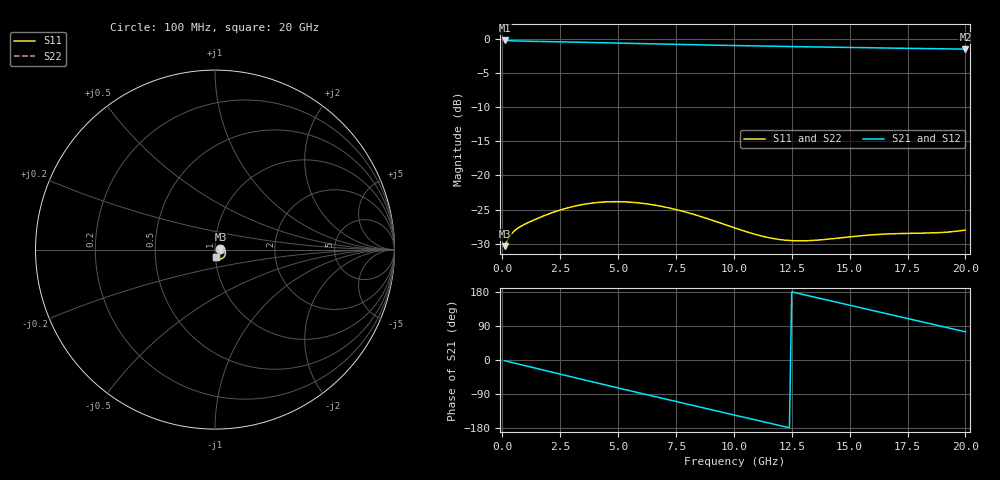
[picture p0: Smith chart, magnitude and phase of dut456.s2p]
! Touchstone file exported from HFSS 2026.1.0
!  File:  C:/ffzhzh/LocalFiles/Ansys_Project_Files/temp_train_TSV_RDL_456_1783100802_50312.aedt
!  Generated:  01:56:31 AM Jul  4, 2026
!  Design:  TSV_RDL
!  Project:  temp_train_TSV_RDL_456_1783100802_50312
! Variables:
!  h_bsmrdl = 3.14um
!  h_ox = 20um
!  h_rdl = 5um
!  h_sub = 72.7um
!  h_tmrdl = 5.38um
!  h_tsv = 72.7um
!  h_via = 3um
!  l_bsmrdl = 189.39um
!  l_sub = 4952um
!  l_tmrdl = 973.45um
!  m_sub = 200um
!  pitch = 18.57um
!  r_tsv = 2.63um
!  s_tmrdl = 10um
!  w_bsmrdl = 15.37um
!  w_sub = 500um
!  w_tmrdl = 14.64um
!  x_tsv_center1 = 980.77um
!  x_tsv_center2 = 1185.53um
!  x_tsv_center3 = 2173.62um
!  x_tsv_center4 = 2378.38um
!  x_tsv_center5 = 3366.47um
!  x_tsv_center6 = 3571.23um
# GHz S MA R 50.000000
! Terminal data exported
! Port[1] = TM_RDL1_1_T1
! Port[2] = TM_RDL5_1_T1
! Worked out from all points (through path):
!   200 points, 100 MHz to 20 GHz, reference 50 ohm
!   highest |S21| = -0.27 dB at 100 MHz (marker M1); lowest = -1.5 dB at 20 GHz (marker M2)
!   group delay of S21, straight-line fit = 39.5 ps
!   lowest |S11| = -30.3 dB at 100 MHz (marker M3), VSWR 1.06, Z = 53.1 + j0.395 ohm
!   |S11| at or under -10 dB: start of sweep to end of sweep
!   |S22| runs from -30.3 to -23.8 dB; largest |S21 - S12| = 6e-14
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0.1  0.03043 7.0  0.9699 -1.7  0.9699 -1.7  0.03043 7.0
! Gamma 0 0 0 0
! Port Impedance 50 0 50 0
0.4  0.03752 10.8  0.964 -6.3  0.964 -6.3  0.03752 10.8
0.9  0.04339 7.5  0.9591 -13.7  0.9591 -13.7  0.0434 7.5
2.1  0.05303 -2.5  0.9511 -31.5  0.9511 -31.5  0.05306 -2.5
3.5  0.06146 -19.4  0.94 -52.0  0.94 -52.0  0.06153 -19.5
4.4  0.064 -31.6  0.9325 -65.0  0.9325 -65.0  0.0641 -31.7
5.2  0.06422 -42.4  0.9258 -76.6  0.9258 -76.6  0.06435 -42.5
6  0.06273 -52.8  0.9193 -88.1  0.9193 -88.1  0.06288 -52.9
6.8  0.05982 -62.4  0.913 -99.5  0.913 -99.5  0.05999 -62.6
7.6  0.05583 -70.9  0.907 -110.9  0.907 -110.9  0.05602 -71.2
8.4  0.05117 -78.2  0.9012 -122.3  0.9012 -122.3  0.05136 -78.4
10.1  0.04104 -87.4  0.8897 -146.4  0.8897 -146.4  0.04118 -87.9
11  0.03682 -88.3  0.884 -159.1  0.884 -159.1  0.03689 -88.8
11.8  0.03438 -87.1  0.8792 -170.4  0.8792 -170.4  0.03437 -87.6
12.6  0.03333 -84.9  0.8746 178.3  0.8746 178.3  0.03325 -85.4
13.4  0.03349 -82.9  0.8702 167.1  0.8702 167.1  0.03336 -83.4
15  0.03559 -82.2  0.8618 144.6  0.8618 144.6  0.03543 -82.4
16.7  0.03741 -84.4  0.8534 120.7  0.8534 120.7  0.03729 -84.5
17.6  0.03775 -85.2  0.8492 108.1  0.8492 108.1  0.03768 -85.2
18.4  0.03797 -85.0  0.8455 96.8  0.8455 96.8  0.03794 -85.0
19.2  0.03853 -83.8  0.8419 85.6  0.8419 85.6  0.03854 -83.8
20  0.03993 -81.8  0.8384 74.4  0.8384 74.4  0.03996 -81.9
